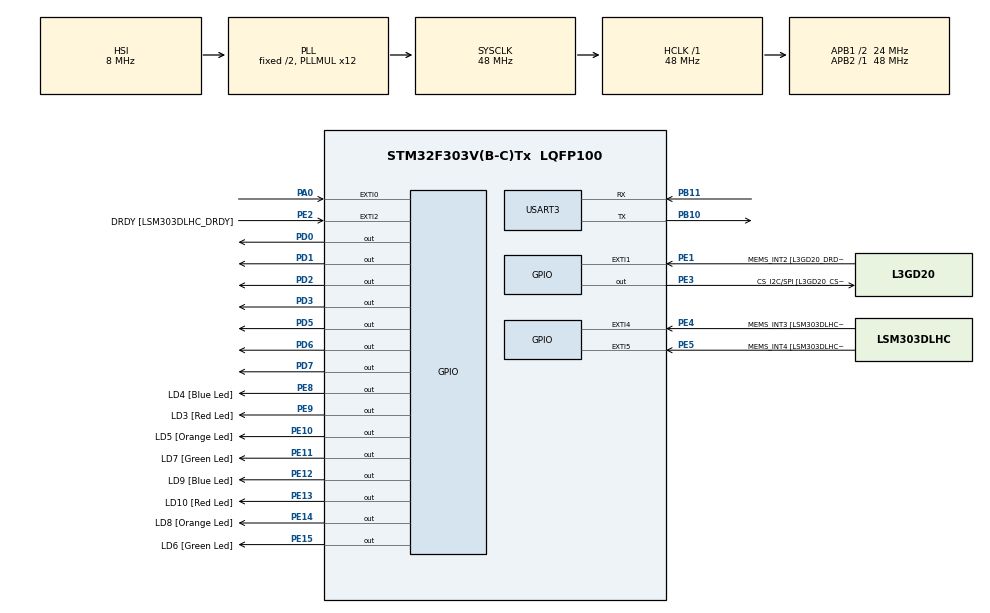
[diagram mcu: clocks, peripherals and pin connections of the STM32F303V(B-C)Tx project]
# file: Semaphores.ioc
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Mcu.Family=STM32F3
Mcu.Name=STM32F303V(B-C)Tx
Mcu.Package=LQFP100
NVIC.EXTI0_IRQn=true\:6\:0\:true\:false\:true\:true\:true\:true
NVIC.PriorityGroup=NVIC_PRIORITYGROUP_4
NVIC.TIM6_DAC_IRQn=true\:15\:0\:false\:false\:true\:false\:true\:true
NVIC.TimeBase=TIM6_DAC_IRQn
NVIC.TimeBaseIP=TIM6
PA0.Signal=GPXTI0
PA11.GPIO_Label=DM
PA11.Signal=USB_DM
PA12.GPIO_Label=DP
PA12.Signal=USB_DP
PA13.GPIO_Label=SWDIO
PA13.Signal=SYS_JTMS-SWDIO
PA14.GPIO_Label=SWCLK
PA14.Signal=SYS_JTCK-SWCLK
PA5.GPIO_Label=SPI1_SCK [L3GD20_SCL/SPC]
PA5.GPIO_Mode=GPIO_MODE_AF_PP
PA5.GPIO_PuPd=GPIO_NOPULL
PA5.GPIO_Speed=GPIO_SPEED_FREQ_LOW
PA5.Signal=SPI1_SCK
PA6.GPIO_Label=SPI1_MISO [L3GD20_SA0/SDO]
PA6.GPIO_Mode=GPIO_MODE_AF_PP
PA6.GPIO_PuPd=GPIO_NOPULL
PA6.GPIO_Speed=GPIO_SPEED_FREQ_LOW
PA6.Signal=SPI1_MISO
PA7.GPIO_Label=SPI1_MISO [L3GD20_SDA/SDI/SDO]
PA7.GPIO_Mode=GPIO_MODE_AF_PP
PA7.GPIO_PuPd=GPIO_NOPULL
PA7.GPIO_Speed=GPIO_SPEED_FREQ_LOW
PA7.Signal=SPI1_MOSI
PB10.Mode=Asynchronous
PB10.Signal=USART3_TX
PB11.Mode=Asynchronous
PB11.Signal=USART3_RX
PB3.GPIO_Label=SWO
PB3.Signal=SYS_JTDO-TRACESWO
PB6.GPIO_FM6=__NULL
PB6.GPIO_Label=I2C1_SCL [LSM303DLHC_SCL]
PB6.GPIO_Mode=GPIO_MODE_AF_OD
PB6.GPIO_PuPd=GPIO_NOPULL
PB6.GPIO_Speed=GPIO_SPEED_FREQ_LOW
PB6.Signal=I2C1_SCL
PB7.GPIO_FM7=__NULL
PB7.GPIO_Label=I2C1_SDA [LSM303DLHC_SDA]
PB7.GPIO_Mode=GPIO_MODE_AF_OD
PB7.GPIO_PuPd=GPIO_NOPULL
PB7.GPIO_Speed=GPIO_SPEED_FREQ_LOW
PB7.Signal=I2C1_SDA
PC14-OSC32_IN.GPIO_Label=OSC32_IN
PC14-OSC32_IN.Signal=RCC_OSC32_IN
PC15-OSC32_OUT.GPIO_Label=OSC32_OUT
PC15-OSC32_OUT.Signal=RCC_OSC32_OUT
PD0.Signal=GPIO_Output
PD1.Signal=GPIO_Output
PD2.Signal=GPIO_Output
PD3.Signal=GPIO_Output
PD5.Signal=GPIO_Output
PD6.Signal=GPIO_Output
PD7.Signal=GPIO_Output
PE1.GPIO_Label=MEMS_INT2 [L3GD20_DRDY/INT2]
PE1.GPIO_ModeDefaultEXTI=GPIO_MODE_EVT_RISING
PE1.GPIO_PuPd=GPIO_NOPULL
PE1.Signal=GPXTI1
PE10.GPIO_Label=LD5 [Orange Led]
PE10.GPIO_ModeDefaultOutputPP=GPIO_MODE_OUTPUT_PP
PE10.GPIO_PuPd=GPIO_NOPULL
PE10.GPIO_Speed=GPIO_SPEED_FREQ_LOW
PE10.Signal=GPIO_Output
PE11.GPIO_Label=LD7 [Green Led]
PE11.GPIO_ModeDefaultOutputPP=GPIO_MODE_OUTPUT_PP
PE11.GPIO_PuPd=GPIO_NOPULL
PE11.GPIO_Speed=GPIO_SPEED_FREQ_LOW
PE11.Signal=GPIO_Output
PE12.GPIO_Label=LD9 [Blue Led]
PE12.GPIO_ModeDefaultOutputPP=GPIO_MODE_OUTPUT_PP
PE12.GPIO_PuPd=GPIO_NOPULL
PE12.GPIO_Speed=GPIO_SPEED_FREQ_LOW
PE12.Signal=GPIO_Output
PE13.GPIO_Label=LD10 [Red Led]
PE13.GPIO_ModeDefaultOutputPP=GPIO_MODE_OUTPUT_PP
PE13.GPIO_PuPd=GPIO_NOPULL
PE13.GPIO_Speed=GPIO_SPEED_FREQ_LOW
PE13.Signal=GPIO_Output
PE14.GPIO_Label=LD8 [Orange Led]
PE14.GPIO_ModeDefaultOutputPP=GPIO_MODE_OUTPUT_PP
PE14.GPIO_PuPd=GPIO_NOPULL
PE14.GPIO_Speed=GPIO_SPEED_FREQ_LOW
PE14.Signal=GPIO_Output
PE15.GPIO_Label=LD6 [Green Led]
PE15.GPIO_ModeDefaultOutputPP=GPIO_MODE_OUTPUT_PP
PE15.GPIO_PuPd=GPIO_NOPULL
PE15.GPIO_Speed=GPIO_SPEED_FREQ_LOW
PE15.Signal=GPIO_Output
PE2.GPIO_Label=DRDY [LSM303DLHC_DRDY]
PE2.GPIO_ModeDefaultEXTI=GPIO_MODE_EVT_RISING
PE2.GPIO_PuPd=GPIO_NOPULL
PE2.Signal=GPXTI2
PE3.GPIO_Label=CS_I2C/SPI [L3GD20_CS_I2C/SPI]
PE3.GPIO_ModeDefaultOutputPP=GPIO_MODE_OUTPUT_PP
PE3.GPIO_PuPd=GPIO_NOPULL
PE3.GPIO_Speed=GPIO_SPEED_FREQ_LOW
PE3.Signal=GPIO_Output
PE4.GPIO_Label=MEMS_INT3 [LSM303DLHC_INT1]
PE4.GPIO_ModeDefaultEXTI=GPIO_MODE_EVT_RISING
PE4.GPIO_PuPd=GPIO_NOPULL
PE4.Signal=GPXTI4
PE5.GPIO_Label=MEMS_INT4 [LSM303DLHC_INT2]
PE5.GPIO_ModeDefaultEXTI=GPIO_MODE_EVT_RISING
PE5.GPIO_PuPd=GPIO_NOPULL
PE5.Signal=GPXTI5
PE8.GPIO_Label=LD4 [Blue Led]
PE8.GPIO_ModeDefaultOutputPP=GPIO_MODE_OUTPUT_PP
PE8.GPIO_PuPd=GPIO_NOPULL
PE8.GPIO_Speed=GPIO_SPEED_FREQ_LOW
PE8.Signal=GPIO_Output
PE9.GPIO_Label=LD3 [Red Led]
PE9.GPIO_ModeDefaultOutputPP=GPIO_MODE_OUTPUT_PP
PE9.GPIO_PuPd=GPIO_NOPULL
PE9.GPIO_Speed=GPIO_SPEED_FREQ_LOW
PE9.Signal=GPIO_Output
PF0-OSC_IN.GPIO_Label=OSC_IN
PF0-OSC_IN.Signal=RCC_OSC_IN
PF1-OSC_OUT.GPIO_Label=OSC_OUT
PF1-OSC_OUT.Signal=RCC_OSC_OUT
ProjectManager.HeapSize=0x200
ProjectManager.StackSize=0x400
ProjectManager.TargetToolchain=STM32CubeIDE
RCC.AHBFreq_Value=48000000
RCC.APB1CLKDivider=RCC_HCLK_DIV2
RCC.APB1Freq_Value=24000000
RCC.APB1TimFreq_Value=48000000
RCC.APB2Freq_Value=48000000
RCC.APB2TimFreq_Value=48000000
RCC.CortexFreq_Value=48000000
RCC.HCLKFreq_Value=48000000
RCC.HSE_VALUE=8000000
RCC.HSI_VALUE=8000000
RCC.LSE_VALUE=32768
RCC.PLLMUL=RCC_PLL_MUL12
RCC.SYSCLKFreq_VALUE=48000000
RCC.SYSCLKSourceVirtual=RCC_SYSCLKSOURCE_PLLCLK
RCC.USBFreq_Value=48000000
USART3.VirtualMode-Asynchronous=VM_ASYNC
VP_SYS_VS_tim6.Mode=TIM6
board=STM32F3DISCOVERY

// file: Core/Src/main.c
/* USER CODE BEGIN Header */
/**
  ******************************************************************************
  * @file           : main.c
  * @brief          : Main program body
  ******************************************************************************
  * @attention
  *
  * Copyright (c) 2023 STMicroelectronics.
  * All rights reserved.
  *
  * This software is licensed under terms that can be found in the LICENSE file
  * in the root directory of this software component.
  * If no LICENSE file comes with this software, it is provided AS-IS.
  *
  ******************************************************************************
  */
/* USER CODE END Header */
#include "main.h"

/* USER CODE BEGIN PD */
#define DWT_CTRL		(*(volatile uint32_t *) 0xE0001000)

/* USER CODE END PD */

UART_HandleTypeDef huart3;

/* USER CODE BEGIN PV */
TaskHandle_t UART_handle = NULL;
TaskHandle_t LCD_handle = NULL;

xQueueHandle xWorkQueue;

xSemaphoreHandle xWork;
xSemaphoreHandle xUART_3;

char usr_msg[250];

/* USER CODE END PV */

void SystemClock_Config(void);
static void MX_GPIO_Init(void);
static void MX_USART3_UART_Init(void);
/* USER CODE BEGIN PFP */
//static void vManagerTask (void *pvParameters);
//static void vEmployeeTask (void *pvParameters);

//static void EmployeeDoWork(unsigned char TicketId);

void printmsg(char *msg);

void button_task(void);
static void sema_task (void *pvParameters);

/* USER CODE END PFP */

int main(void)
{
  /* USER CODE BEGIN 1 */

	//this is here to collect segger event time stamps
	DWT->CTRL |= (1 << 0);

  /* USER CODE END 1 */

  /* MCU Configuration--------------------------------------------------------*/

  /* Reset of all peripherals, Initializes the Flash interface and the Systick. */
  HAL_Init();

  /* USER CODE BEGIN Init */

//  sprintf(usr_msg, "Demo of binary semaphore usage between 2 tasks \r\n");
//  printmsg(usr_msg);

  /* USER CODE END Init */

  /* Configure the system clock */
  SystemClock_Config();

  /* Initialize all configured peripherals */
  MX_GPIO_Init();
  MX_USART3_UART_Init();
  /* USER CODE BEGIN 2 */
  xWork = xSemaphoreCreateBinary();
  xUART_3 = xSemaphoreCreateMutex();

  xWorkQueue = xQueueCreate(10, sizeof(char));
  BaseType_t Status;

  sprintf(usr_msg, "Program running... \r\n");
  printmsg(usr_msg);

  if( (xWork != NULL) && (xWorkQueue != NULL)){

	  Status = xTaskCreate(UART_task, "UART_task" , 500 , NULL , 1, &UART_handle);
	  configASSERT(Status == pdPASS);

	  Status = xTaskCreate(LCD_task, "LCD_print_task" , 500 , NULL , 1, &LCD_handle);
	  configASSERT(Status == pdPASS);

	  Status = xTaskCreate(sema_task, "Semaphore_task" , 500 , NULL , 1, NULL);
	  configASSERT(Status == pdPASS);

	  vTaskStartScheduler();
  }

  sprintf(usr_msg, "Task creation failed.. \r\n");
  printmsg(usr_msg);

  /* USER CODE END 2 */

  /* Infinite loop */
  while (1)
  {

  }
}

void SystemClock_Config(void)
{
  RCC_OscInitTypeDef RCC_OscInitStruct = {0};
  RCC_ClkInitTypeDef RCC_ClkInitStruct = {0};
  RCC_PeriphCLKInitTypeDef PeriphClkInit = {0};

  /** Initializes the RCC Oscillators according to the specified parameters
  * in the RCC_OscInitTypeDef structure.
  */
  RCC_OscInitStruct.OscillatorType = RCC_OSCILLATORTYPE_HSI;
  RCC_OscInitStruct.HSIState = RCC_HSI_ON;
  RCC_OscInitStruct.HSICalibrationValue = RCC_HSICALIBRATION_DEFAULT;
  RCC_OscInitStruct.PLL.PLLState = RCC_PLL_ON;
  RCC_OscInitStruct.PLL.PLLSource = RCC_PLLSOURCE_HSI;
  RCC_OscInitStruct.PLL.PLLMUL = RCC_PLL_MUL12;
  if (HAL_RCC_OscConfig(&RCC_OscInitStruct) != HAL_OK)
  {
    Error_Handler();
  }

  /** Initializes the CPU, AHB and APB buses clocks
  */
  RCC_ClkInitStruct.ClockType = RCC_CLOCKTYPE_HCLK|RCC_CLOCKTYPE_SYSCLK
                              |RCC_CLOCKTYPE_PCLK1|RCC_CLOCKTYPE_PCLK2;
  RCC_ClkInitStruct.SYSCLKSource = RCC_SYSCLKSOURCE_PLLCLK;
  RCC_ClkInitStruct.AHBCLKDivider = RCC_SYSCLK_DIV1;
  RCC_ClkInitStruct.APB1CLKDivider = RCC_HCLK_DIV2;
  RCC_ClkInitStruct.APB2CLKDivider = RCC_HCLK_DIV1;

  if (HAL_RCC_ClockConfig(&RCC_ClkInitStruct, FLASH_LATENCY_1) != HAL_OK)
  {
    Error_Handler();
  }
  PeriphClkInit.PeriphClockSelection = RCC_PERIPHCLK_USART3;
  PeriphClkInit.Usart3ClockSelection = RCC_USART3CLKSOURCE_PCLK1;
  if (HAL_RCCEx_PeriphCLKConfig(&PeriphClkInit) != HAL_OK)
  {
    Error_Handler();
  }
}

static void MX_USART3_UART_Init(void)
{

  huart3.Instance = USART3;
  huart3.Init.BaudRate = 38400;
  huart3.Init.WordLength = UART_WORDLENGTH_8B;
  huart3.Init.StopBits = UART_STOPBITS_1;
  huart3.Init.Parity = UART_PARITY_NONE;
  huart3.Init.Mode = UART_MODE_TX_RX;
  huart3.Init.HwFlowCtl = UART_HWCONTROL_NONE;
  huart3.Init.OverSampling = UART_OVERSAMPLING_16;
  huart3.Init.OneBitSampling = UART_ONE_BIT_SAMPLE_DISABLE;
  huart3.AdvancedInit.AdvFeatureInit = UART_ADVFEATURE_NO_INIT;
  if (HAL_UART_Init(&huart3) != HAL_OK)
  {
    Error_Handler();
  }

}

static void MX_GPIO_Init(void)
{
  GPIO_InitTypeDef GPIO_InitStruct = {0};

  /* GPIO Ports Clock Enable */
  __HAL_RCC_GPIOE_CLK_ENABLE();
  __HAL_RCC_GPIOC_CLK_ENABLE();
  __HAL_RCC_GPIOF_CLK_ENABLE();
  __HAL_RCC_GPIOA_CLK_ENABLE();
  __HAL_RCC_GPIOB_CLK_ENABLE();
  __HAL_RCC_GPIOD_CLK_ENABLE();

  /*Configure GPIO pin Output Level */
  HAL_GPIO_WritePin(GPIOE, CS_I2C_SPI_Pin|LD4_Pin|LD3_Pin|LD5_Pin
                          |LD7_Pin|LD9_Pin|LD10_Pin|LD8_Pin
                          |LD6_Pin, GPIO_PIN_RESET);

  /*Configure GPIO pin Output Level */
  HAL_GPIO_WritePin(GPIOD, GPIO_PIN_0|GPIO_PIN_1|GPIO_PIN_2|GPIO_PIN_3
                          |GPIO_PIN_5|GPIO_PIN_6|GPIO_PIN_7, GPIO_PIN_RESET);

  /*Configure GPIO pins : DRDY_Pin MEMS_INT3_Pin MEMS_INT4_Pin MEMS_INT2_Pin */
  GPIO_InitStruct.Pin = DRDY_Pin|MEMS_INT3_Pin|MEMS_INT4_Pin|MEMS_INT2_Pin;
  GPIO_InitStruct.Mode = GPIO_MODE_EVT_RISING;
  GPIO_InitStruct.Pull = GPIO_NOPULL;
  HAL_GPIO_Init(GPIOE, &GPIO_InitStruct);

  /*Configure GPIO pins : CS_I2C_SPI_Pin LD4_Pin LD3_Pin LD5_Pin
                           LD7_Pin LD9_Pin LD10_Pin LD8_Pin
                           LD6_Pin */
  GPIO_InitStruct.Pin = CS_I2C_SPI_Pin|LD4_Pin|LD3_Pin|LD5_Pin
                          |LD7_Pin|LD9_Pin|LD10_Pin|LD8_Pin
                          |LD6_Pin;
  GPIO_InitStruct.Mode = GPIO_MODE_OUTPUT_PP;
  GPIO_InitStruct.Pull = GPIO_NOPULL;
  GPIO_InitStruct.Speed = GPIO_SPEED_FREQ_LOW;
  HAL_GPIO_Init(GPIOE, &GPIO_InitStruct);

  /*Configure GPIO pin : PA0 */
  GPIO_InitStruct.Pin = GPIO_PIN_0;
  GPIO_InitStruct.Mode = GPIO_MODE_IT_RISING;
  GPIO_InitStruct.Pull = GPIO_NOPULL;
  HAL_GPIO_Init(GPIOA, &GPIO_InitStruct);

  /*Configure GPIO pins : SPI1_SCK_Pin SPI1_MISO_Pin SPI1_MISOA7_Pin */
  GPIO_InitStruct.Pin = SPI1_SCK_Pin|SPI1_MISO_Pin|SPI1_MISOA7_Pin;
  GPIO_InitStruct.Mode = GPIO_MODE_AF_PP;
  GPIO_InitStruct.Pull = GPIO_NOPULL;
  GPIO_InitStruct.Speed = GPIO_SPEED_FREQ_LOW;
  GPIO_InitStruct.Alternate = GPIO_AF5_SPI1;
  HAL_GPIO_Init(GPIOA, &GPIO_InitStruct);

  /*Configure GPIO pins : DM_Pin DP_Pin */
  GPIO_InitStruct.Pin = DM_Pin|DP_Pin;
  GPIO_InitStruct.Mode = GPIO_MODE_AF_PP;
  GPIO_InitStruct.Pull = GPIO_NOPULL;
  GPIO_InitStruct.Speed = GPIO_SPEED_FREQ_HIGH;
  GPIO_InitStruct.Alternate = GPIO_AF14_USB;
  HAL_GPIO_Init(GPIOA, &GPIO_InitStruct);

  /*Configure GPIO pins : PD0 PD1 PD2 PD3
                           PD5 PD6 PD7 */
  GPIO_InitStruct.Pin = GPIO_PIN_0|GPIO_PIN_1|GPIO_PIN_2|GPIO_PIN_3
                          |GPIO_PIN_5|GPIO_PIN_6|GPIO_PIN_7;
  GPIO_InitStruct.Mode = GPIO_MODE_OUTPUT_PP;
  GPIO_InitStruct.Pull = GPIO_NOPULL;
  GPIO_InitStruct.Speed = GPIO_SPEED_FREQ_LOW;
  HAL_GPIO_Init(GPIOD, &GPIO_InitStruct);

  /*Configure GPIO pins : I2C1_SCL_Pin I2C1_SDA_Pin */
  GPIO_InitStruct.Pin = I2C1_SCL_Pin|I2C1_SDA_Pin;
  GPIO_InitStruct.Mode = GPIO_MODE_AF_OD;
  GPIO_InitStruct.Pull = GPIO_NOPULL;
  GPIO_InitStruct.Speed = GPIO_SPEED_FREQ_LOW;
  GPIO_InitStruct.Alternate = GPIO_AF4_I2C1;
  HAL_GPIO_Init(GPIOB, &GPIO_InitStruct);

  /* EXTI interrupt init*/
  HAL_NVIC_SetPriority(EXTI0_IRQn, 6, 0);
  HAL_NVIC_EnableIRQ(EXTI0_IRQn);

}

/* USER CODE BEGIN 4 */

static void sema_task (void *pvParameters){

	while(1){

		if(xSemaphoreTake(xWork, portMAX_DELAY)){

			sprintf(usr_msg, "sema_task\r\n");
			printmsg(usr_msg);
			xTaskNotify(UART_handle, 0, eIncrement);
		}

	}
}

void printmsg(char *msg){

		xSemaphoreTake(xUART_3, portMAX_DELAY);

		while ( __HAL_UART_GET_FLAG(&huart3, UART_FLAG_TXE) != SET);

		HAL_UART_Transmit(&huart3, (uint8_t*)msg, strlen(msg), HAL_MAX_DELAY);

		while ( __HAL_UART_GET_FLAG(&huart3, UART_FLAG_TC) != SET);

		xSemaphoreGive(xUART_3);

}

void button_task(void){

	xSemaphoreGiveFromISR(xWork, NULL);

}
/* USER CODE END 4 */

void HAL_TIM_PeriodElapsedCallback(TIM_HandleTypeDef *htim)
{
  if (htim->Instance == TIM6) {
    HAL_IncTick();
  }
}

void Error_Handler(void)
{
  __disable_irq();
  while (1)
  {
  }
}
